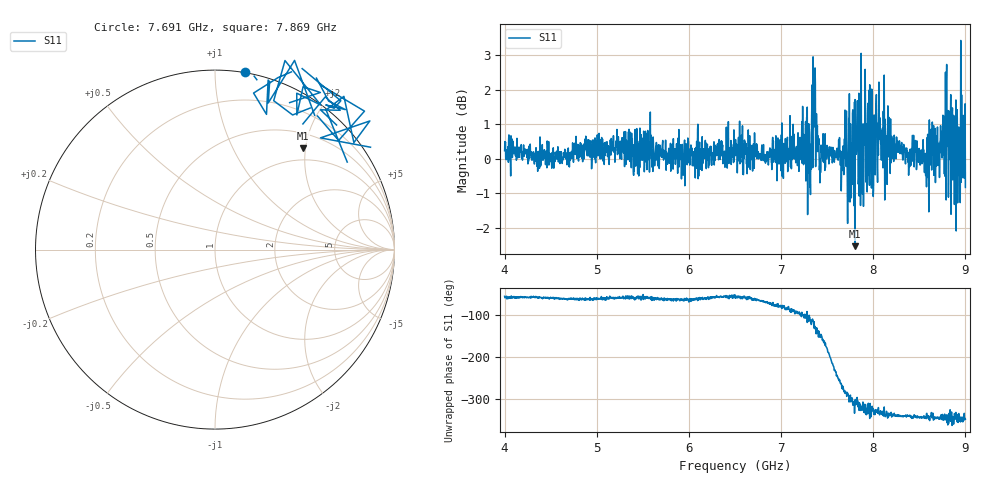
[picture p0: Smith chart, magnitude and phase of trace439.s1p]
! Created with skrf 1.8.0 (http://scikit-rf.org).
# Hz S RI R 50.0
!freq ReS11 ImS11
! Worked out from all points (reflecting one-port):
!   1601 points, 4 GHz to 9 GHz, reference 50 ohm
!   lowest |S11| = -2.5 dB at 7.8 GHz (marker M1), VSWR 6.91, Z = 38.1 + j97.5 ohm
!   phase of S11 starts at -56 deg and turns -291 deg over the sweep
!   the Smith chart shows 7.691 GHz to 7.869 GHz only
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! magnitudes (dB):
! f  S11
! 4 GHz  0.2
! 4.625 GHz  -0.1
! 5.25 GHz  0.0
! 5.875 GHz  0.0
! 6.5 GHz  0.2
! 7.125 GHz  0.1
! 7.241 GHz  0.0
! 7.294 GHz  0.2
! 7.359 GHz  1.9
! 7.4 GHz  0.7
! 7.438 GHz  0.2
! 7.666 GHz  0.1
! 7.691 GHz  0.0
! 7.75 GHz  -1.0
! 7.8 GHz  -2.5
! 7.909 GHz  1.4
! 7.928 GHz  0.5
! 7.997 GHz  0.4
! 8.053 GHz  0.6
! 8.375 GHz  0.0
! 8.441 GHz  -0.2
! 8.581 GHz  0.0
! 8.631 GHz  0.9
! 8.7 GHz  0.4
! 8.816 GHz  -1.1
! 8.919 GHz  -0.3
! 8.972 GHz  0.4
! 9 GHz  -0.8
